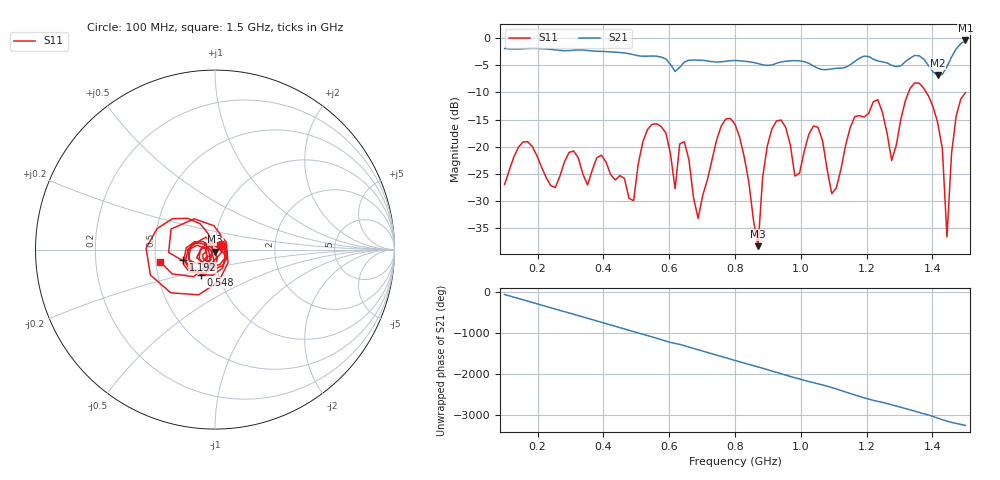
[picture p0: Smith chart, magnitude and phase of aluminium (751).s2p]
! NanoVNA-App
! Date: 2025-09-25 15:01:07
! Start: 100MHz Stop: 1,5GHz Points: 101
! S-Parameter data: F S11 S21 S12 S22
# Hz S RI R 50
!  Frequency  S11_Real  S11_Imag  S21_Real  S21_Imag  S12_Real  S12_Imag  S22_Real  S22_Imag
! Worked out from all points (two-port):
!   101 points, 100 MHz to 1.5 GHz, reference 50 ohm
!   highest |S21| = -0.44 dB at 1.5 GHz (marker M1); lowest = -6.8 dB at 1.416 GHz (marker M2)
!   |S21| within 3 dB of the highest: start of sweep to 570.6 MHz; 1.458 GHz to end of sweep (the widest 2 of 4)
!   lowest |S11| = -38.3 dB at 870 MHz (marker M3), VSWR 1.02, Z = 50.1 - j1.22 ohm
!   |S11| at or under -10 dB: start of sweep to 1.327 GHz; 1.381 GHz to end of sweep
!   S12 and S22 are empty: the file has one direction only
!   S11 on the Smith chart (normalised r, x): 100 MHz: 1.07, +0.06; 548 MHz: 0.82, -0.23; 1.192 GHz: 0.69, -0.08; 1.5 GHz: 0.53, -0.08
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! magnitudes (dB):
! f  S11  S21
! 100 MHz  -27.0  -1.9
! 156 MHz  -19.1  -2.0
! 338 MHz  -25.0  -2.2
! 492 MHz  -29.9  -3.1
! 548 MHz  -15.9  -3.3
! 576 MHz  -16.3  -3.5
! 618 MHz  -27.7  -6.1
! 646 MHz  -19.1  -4.4
! 688 MHz  -33.2  -4.1
! 800 MHz  -15.9  -4.1
! 870 MHz  -38.3  -4.7
! 912 MHz  -16.7  -5.0
! 982 MHz  -25.4  -4.2
! 1.038 GHz  -16.2  -5.1
! 1.094 GHz  -28.7  -5.7
! 1.192 GHz  -14.5  -3.3
! 1.276 GHz  -22.5  -5.0
! 1.346 GHz  -8.3  -3.2
! 1.416 GHz  -15.6  -6.8
! 1.444 GHz  -36.6  -5.3
! 1.472 GHz  -14.3  -2.0
! 1.5 GHz  -10.1  -0.4
